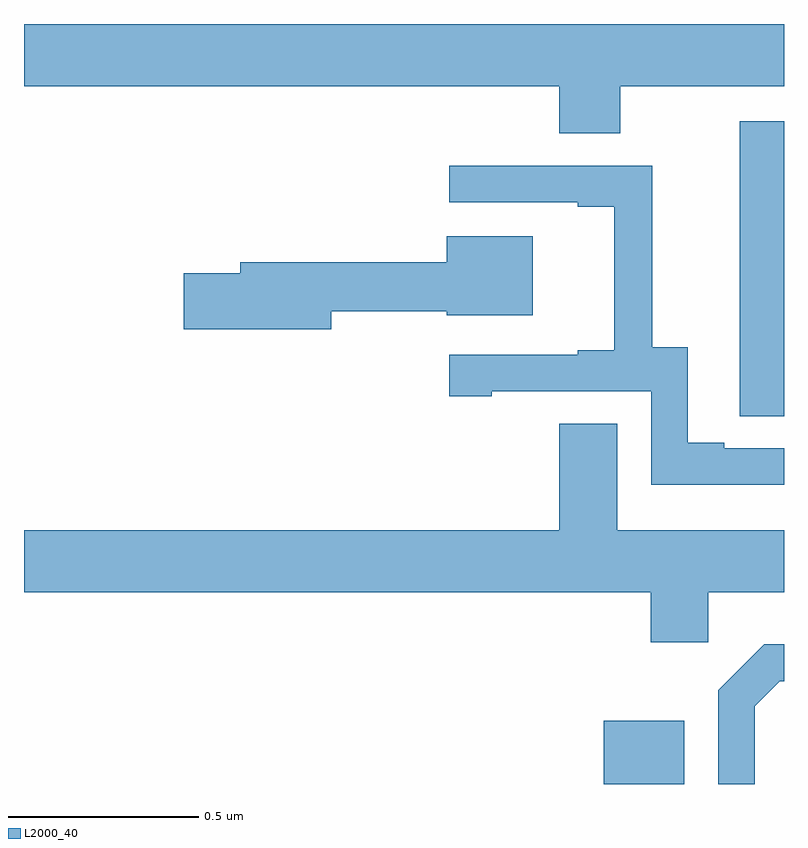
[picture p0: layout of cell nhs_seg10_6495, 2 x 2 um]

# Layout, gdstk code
import gdstk
lib = gdstk.Library(unit=1e-6, precision=1e-09)
def R(c, l, rs):  # rectangles x0, y0, x1, y1
    for r in rs: c.add(gdstk.rectangle(r[:2], r[2:], *l))
def P(c, l, *ps):  # polygons
    for p in ps: c.add(gdstk.Polygon(p, *l))
L2000_40 = (2000, 40)

nhs_seg10_6495 = lib.new_cell('nhs_seg10_6495')
R(nhs_seg10_6495, L2000_40, [(193.526,1278.5,193.738,1278.667)])
P(nhs_seg10_6495, L2000_40, [(193.569,1280.336),(194,1280.336),(194,1280.5),(192,1280.5),(192,1280.336),(193.409,1280.336),(193.409,1280.212),(193.569,1280.212)],
  [(194,1280.244),(193.883,1280.244),(193.883,1279.576),(193.884,1279.576),(193.884,1279.468),(194,1279.468)],
  [(194,1279.383),(193.843,1279.383),(193.843,1279.398),(193.747,1279.398),(193.747,1279.649),(193.653,1279.649),(193.653,1280.127),(193.119,1280.127),(193.119,1280.031),(193.457,1280.031),(193.457,1280.019),(193.553,1280.019),(193.553,1279.642),(193.457,1279.642),(193.457,1279.629),(193.119,1279.629),(193.119,1279.521),(193.231,1279.521),(193.231,1279.533),(193.65,1279.533),(193.65,1279.287),(194,1279.287)],
  [(192.808,1279.744),(193.112,1279.744),(193.112,1279.733),(193.339,1279.733),(193.339,1279.942),(193.112,1279.942),(193.112,1279.873),(192.569,1279.873),(192.569,1279.844),(192.42,1279.844),(192.42,1279.697),(192.808,1279.697)],
  [(193.8,1279.004),(194,1279.004),(194,1279.168),(193.561,1279.168),(193.561,1279.448),(193.409,1279.448),(193.409,1279.168),(192,1279.168),(192,1279.004),(193.649,1279.004),(193.649,1278.873),(193.8,1278.873)],
  [(193.923,1278.705),(193.989,1278.771),(194,1278.771),(194,1278.868),(193.948,1278.868),(193.827,1278.747),(193.827,1278.5),(193.923,1278.5)])

lib.write_gds('nhs_seg10_6495.gds')
